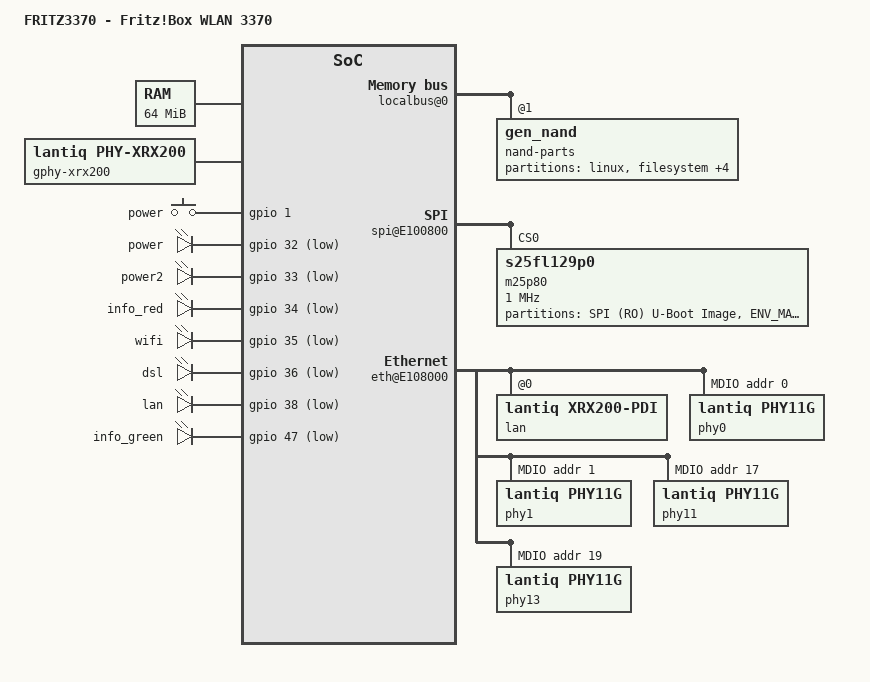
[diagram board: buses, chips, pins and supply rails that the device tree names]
/dts-v1/;

/include/ "vr9.dtsi"

/ {
	model = "FRITZ3370 - Fritz!Box WLAN 3370";

	chosen {
		bootargs = "console=ttyLTQ0,115200 init=/etc/preinit";
	};

	memory@0 {
		reg = <0x0 0x4000000>;
	};
	
	fpi@10000000 {
		localbus@0 {
			nand-parts@0 {
				compatible = "gen_nand", "lantiq,nand-xway";
				bank-width = <2>;
				reg = <1 0x0 0x2000000>;
				#address-cells = <1>;
				#size-cells = <1>;

				partition@0 {
					label = "linux";
					reg = <0x00000 0x400000>;
				};

				partition@400000 {
					label = "filesystem";
					reg = <0x400000 0x3000000>;
				};

				partition@3400000 {
					label = "reserved-kernel";
					reg = <0x3400000 0x400000>;
				};
				partition@3800000 {
					label = "reserved";
					reg = <0x3800000 0x3000000>;
				};
				partition@6800000 {
					label = "config";
					reg = <0x6800000 0x200000>;
				};
				partition@6a00000 {
					label = "nand-filesystem";
					reg = <0x6a00000 0x1600000>;
				};
			};
		};

		spi@E100800 {
			compatible = "lantiq,spi-xway-broken";
			reg = <0xE100800 0x100>;
			interrupt-parent = <&icu0>;
			interrupts = <22 23 24>;
			#address-cells = <1>;
			#size-cells = <1>;

			m25p80@0 {
				#address-cells = <1>;
				#size-cells = <1>;
				compatible = "s25fl129p0";
				reg = <0 0>;
				linux,modalias = "m25p80", "mx25l3205d";
				spi-max-frequency = <1000000>;

				partition@0 {
					reg = <0x0 0x20000>;
					label = "SPI (RO) U-Boot Image";
					read-only;
				};

				partition@20000 {
					reg = <0x20000 0x10000>;
					label = "ENV_MAC";
					read-only;
				};

				partition@30000 {
					reg = <0x30000 0x10000>;
					label = "DPF";
					read-only;
				};

				partition@40000 {
					reg = <0x40000 0x10000>;
					label = "NVRAM";
					read-only;
				};

				partition@500000 {
					reg = <0x50000 0x003a0000>;
					label = "kernel";
				};
			};
		};

		gpio: pinmux@E100B10 {
			pinctrl-names = "default";
			pinctrl-0 = <&state_default>;

			state_default: pinmux {
				spi {
					lantiq,groups = "spi", "spi_cs4";
					lantiq,function = "spi";
				};
				nand_out {
					lantiq,groups = "nand cle", "nand ale",	"nand rd", "ebu a23", "ebu a24";
					lantiq,function = "ebu";
					lantiq,direction = <1>;
					lantiq,pull = <0>;
				};
				nand_in {
					lantiq,groups = "nand rdy";
					lantiq,function = "ebu";
					lantiq,direction = <0>;
					lantiq,open-drain = <1>;
					lantiq,pull = <2>;
				};
				mdio {
					lantiq,groups = "mdio";
					lantiq,function = "mdio";
				};
				phy-rst {
					lantiq,pins = "io37", "io44";
					lantiq,pull = <0>;
					lantiq,open-drain = <0>;
					lantiq,output = <1>;
				};
				pcie-rst {
					lantiq,pins = "io38";
					lantiq,pull = <0>;
					lantiq,output = <1>;
				};
			};
		};

		eth@E108000 {
			#address-cells = <1>;
			#size-cells = <0>;
			compatible = "lantiq,xrx200-net";
			reg = <	0xE108000 0x3000 /* switch */
				0xE10B100 0x70 /* mdio */
				0xE10B1D8 0x30 /* mii */
				0xE10B308 0x30 /* pmac */
			>;
			interrupt-parent = <&icu0>;
			interrupts = <73 72>;

			lan: interface@0 {
				compatible = "lantiq,xrx200-pdi";
				#address-cells = <1>;
				#size-cells = <0>;
				reg = <0>;
				mac-address = [ 00 11 22 33 44 55 ];

				ethernet@0 {
					compatible = "lantiq,xrx200-pdi-port";
					reg = <0>;
					phy-mode = "rgmii";
					phy-handle = <&phy0>;
					gpios = <&gpio 37 0>;
				};
				ethernet@1 {
					compatible = "lantiq,xrx200-pdi-port";
					reg = <1>;
					phy-mode = "rgmii";
					phy-handle = <&phy1>;
					gpios = <&gpio 44 0>;
				};
				ethernet@2 {
					compatible = "lantiq,xrx200-pdi-port";
					reg = <2>;
					phy-mode = "gmii";
					phy-handle = <&phy11>;
				};
				ethernet@3 {
					compatible = "lantiq,xrx200-pdi-port";
					reg = <4>;
					phy-mode = "gmii";
					phy-handle = <&phy13>;
				};
			};

			mdio@0 {
				#address-cells = <1>;
				#size-cells = <0>;
				compatible = "lantiq,xrx200-mdio";
				phy0: ethernet-phy@0 {
					reg = <0x0>;
					compatible = "lantiq,phy11g", "ethernet-phy-ieee802.3-c22";
					lantiq,c45-reg-init = <1 0 0 0>; 
				};
				phy1: ethernet-phy@1 {
					reg = <0x1>;
					compatible = "lantiq,phy11g", "ethernet-phy-ieee802.3-c22";
					lantiq,c45-reg-init = <1 0 0 0>; 
				};
				phy11: ethernet-phy@11 {
					reg = <0x11>;
					compatible = "lantiq,phy11g", "ethernet-phy-ieee802.3-c22";
					lantiq,c45-reg-init = <1 0 0 0>; 
				};
				phy13: ethernet-phy@13 {
					reg = <0x13>;
					compatible = "lantiq,phy11g", "ethernet-phy-ieee802.3-c22";
					lantiq,c45-reg-init = <1 0 0 0>; 
				};
			};
		};

		ifxhcd@E101000 {
			status = "okay";
			gpios = <&gpio 5 0
				&gpio 14 0>;
			lantiq,portmask = <0x3>;
		};
	};

	gphy-xrx200 {
		compatible = "lantiq,phy-xrx200";
		firmware = "lantiq/vr9_phy11g_a1x.bin";
		phys = [ 00 01 ];
	};

	gpio-keys-polled {
		compatible = "gpio-keys-polled";
		#address-cells = <1>;
		#size-cells = <0>;
		poll-interval = <100>;
		power {
			label = "power";
			gpios = <&gpio 1 0>;
			linux,code = <0x100>;
		}; 
/*		wifi {
			label = "wifi";
			gpios = <&gpio 29 0>;
			linux,code = <0x101>;
		};*/
	};

	gpio-leds {
		compatible = "gpio-leds";
		
		power {
			label = "power";
			gpios = <&gpio 32 1>;
		};
		power2 {
			label = "power2";
			gpios = <&gpio 33 1>;
		};
		info_red {
			label = "info_red";
			gpios = <&gpio 34 1>;
		};
		wifi {
			label = "wifi";
			gpios = <&gpio 35 1>;
		};
		dsl {
			label = "dsl";
			gpios = <&gpio 36 1>;
		};
		lan {
			label = "lan";
			gpios = <&gpio 38 1>;
		};
		info_green {
			label = "info_green";
			gpios = <&gpio 47 1>;
		};
	};
};
